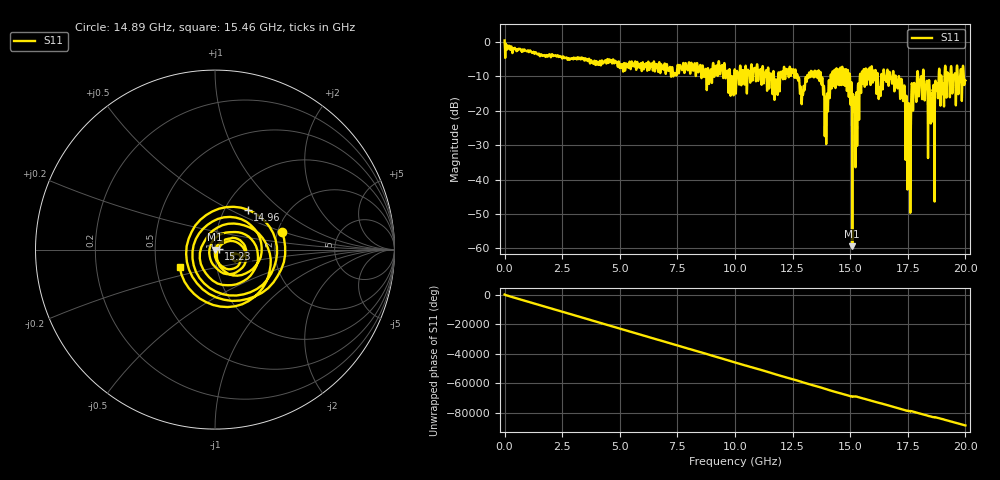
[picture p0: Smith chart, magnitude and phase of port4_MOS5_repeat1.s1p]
! MS46122B
! 2250307/22442219
! 7/28/2025 2:09:36 PM
! C:\USERS\SPARKY\DOCUMENTS\VNA_DATA\JULY28_2025\3K\PORT4_MOS5_REPEAT1.S1P
! CHANNEL.1
! TR.MEASUREMENT
! RAW.DATA
# GHZ S RI R 50.0
! FREQ.GHZ  S11RE  S11IM
!; PortSelection: Port_1
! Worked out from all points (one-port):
!   10001 points, 1 MHz to 20 GHz, reference 50 ohm
!   lowest |S11| = -59.4 dB at 15.09 GHz (marker M1), VSWR 1.00, Z = 50 - j0.107 ohm
!   |S11| at or under -10 dB: 14.99 GHz to 15.42 GHz (431.5 MHz wide, 2.84 % of centre); 17.12 GHz to 17.9 GHz (786.6 MHz wide, 4.49 % of centre); 18.2 GHz to 18.84 GHz (641.3 MHz wide, 3.46 % of centre) (the widest 3 of 87)
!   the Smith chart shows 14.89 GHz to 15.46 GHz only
!   S11 on the Smith chart (normalised r, x): 14.89 GHz: 2.11, +0.50; 14.96 GHz: 1.28, +0.62; 15.23 GHz: 1.04, +0.01; 15.46 GHz: 0.66, -0.13
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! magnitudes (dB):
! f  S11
! 1 MHz  0.4
! 2.501 GHz  -4.8
! 5.001 GHz  -7.6
! 7.501 GHz  -7.1
! 9.365 GHz  -8.5
! 10 GHz  -8.4
! 10.89 GHz  -8.4
! 11.78 GHz  -13.5
! 12.5 GHz  -9.0
! 12.91 GHz  -15.9
! 13.63 GHz  -8.3
! 13.96 GHz  -28.2
! 14.24 GHz  -8.6
! 14.89 GHz  -8.2
! 14.96 GHz  -10.8
! 15 GHz  -12.6
! 15.09 GHz  -59.4
! 15.23 GHz  -33.6
! 15.46 GHz  -13.2
! 16.79 GHz  -10.7
! 17.28 GHz  -16.4
! 17.5 GHz  -20.3
! 17.56 GHz  -20.7
! 17.74 GHz  -15.0
! 17.99 GHz  -13.7
! 18.57 GHz  -15.3
! 18.79 GHz  -13.3
! 20 GHz  -11.2
